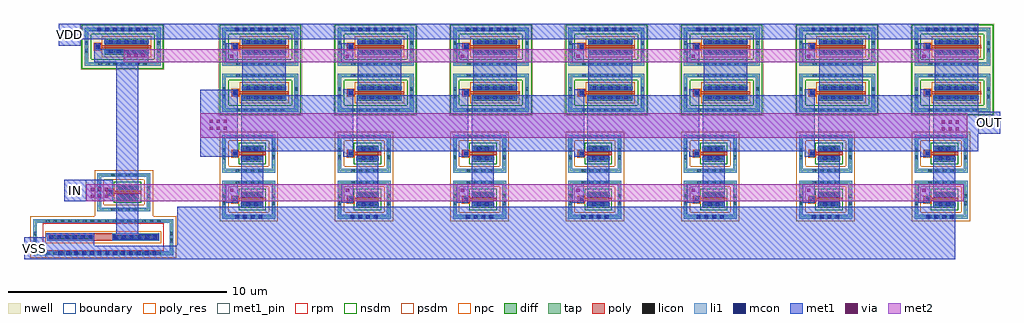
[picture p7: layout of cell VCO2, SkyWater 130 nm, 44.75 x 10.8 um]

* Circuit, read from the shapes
.subckt VCO2 IN OUT VDD VSS
XM1 n1 IN n2 VSS sky130_fd_pr__nfet_01v8 w=1 l=0.15
XM2 n3 IN VSS VSS sky130_fd_pr__nfet_01v8 w=1 l=0.15
XM3 n4 OUT n3 VSS sky130_fd_pr__nfet_01v8 w=1 l=0.15
XM4 n5 IN VSS VSS sky130_fd_pr__nfet_01v8 w=1 l=0.15
XM5 n6 n4 n5 VSS sky130_fd_pr__nfet_01v8 w=1 l=0.15
XM6 n7 IN VSS VSS sky130_fd_pr__nfet_01v8 w=1 l=0.15
XM7 n8 n6 n7 VSS sky130_fd_pr__nfet_01v8 w=1 l=0.15
XM8 n9 IN VSS VSS sky130_fd_pr__nfet_01v8 w=1 l=0.15
XM9 n10 n8 n9 VSS sky130_fd_pr__nfet_01v8 w=1 l=0.15
XM10 n11 IN VSS VSS sky130_fd_pr__nfet_01v8 w=1 l=0.15
XM11 n12 n10 n11 VSS sky130_fd_pr__nfet_01v8 w=1 l=0.15
XM12 n13 IN VSS VSS sky130_fd_pr__nfet_01v8 w=1 l=0.15
XM13 n14 n12 n13 VSS sky130_fd_pr__nfet_01v8 w=1 l=0.15
XM14 n15 IN VSS VSS sky130_fd_pr__nfet_01v8 w=1 l=0.15
XM15 OUT n14 n15 VSS sky130_fd_pr__nfet_01v8 w=1 l=0.15
XM16 VDD n1 n1 VDD sky130_fd_pr__pfet_01v8 w=2 l=0.15
XM17 n16 OUT n4 VDD sky130_fd_pr__pfet_01v8 w=2 l=0.15
XM18 VDD n1 n16 VDD sky130_fd_pr__pfet_01v8 w=2 l=0.15
XM19 n17 n4 n6 VDD sky130_fd_pr__pfet_01v8 w=2 l=0.15
XM20 VDD n1 n17 VDD sky130_fd_pr__pfet_01v8 w=2 l=0.15
XM21 n18 n6 n8 VDD sky130_fd_pr__pfet_01v8 w=2 l=0.15
XM22 VDD n1 n18 VDD sky130_fd_pr__pfet_01v8 w=2 l=0.15
XM23 n19 n8 n10 VDD sky130_fd_pr__pfet_01v8 w=2 l=0.15
XM24 VDD n1 n19 VDD sky130_fd_pr__pfet_01v8 w=2 l=0.15
XM25 n20 n10 n12 VDD sky130_fd_pr__pfet_01v8 w=2 l=0.15
XM26 VDD n1 n20 VDD sky130_fd_pr__pfet_01v8 w=2 l=0.15
XM27 n21 n12 n14 VDD sky130_fd_pr__pfet_01v8 w=2 l=0.15
XM28 VDD n1 n21 VDD sky130_fd_pr__pfet_01v8 w=2 l=0.15
XM29 n22 n14 OUT VDD sky130_fd_pr__pfet_01v8 w=2 l=0.15
XM30 VDD n1 n22 VDD sky130_fd_pr__pfet_01v8 w=2 l=0.15
XR31 n2 VSS VSS sky130_fd_pr__res_high_po w=0.35 l=0.85
.ends

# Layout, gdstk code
from math import pi, radians
import gdstk
lib = gdstk.Library(unit=1e-6, precision=1e-09)
def R(c, l, rs):  # rectangles x0, y0, x1, y1
    for r in rs: c.add(gdstk.rectangle(r[:2], r[2:], *l))
def A(c, l, x, y, w, h, nx, ny, dx, dy):  # array of equal rectangles
    R(c, l, [(x+i*dx, y+j*dy, x+i*dx+w, y+j*dy+h) for i in range(nx) for j in range(ny)])
nwell = (64, 20)
diff = (65, 20)
tap = (65, 44)
poly_res = (66, 13)
poly = (66, 20)
licon = (66, 44)
li1 = (67, 20)
mcon = (67, 44)
met1_pin = (68, 16)
met1 = (68, 20)
via = (68, 44)
met2 = (69, 20)
rpm = (86, 20)
nsdm = (93, 44)
psdm = (94, 20)
npc = (95, 20)
boundary = (235, 4)

sky130_fd_pr__pfet_01v8_ = lib.new_cell('sky130_fd_pr__pfet_01v8_KLV5CL')
R(sky130_fd_pr__pfet_01v8_, nwell, [(-1.055,-1.92,1.055,1.92)])
R(sky130_fd_pr__pfet_01v8_, diff, [(-0.365,-1.18,0.365,0.82)])
R(sky130_fd_pr__pfet_01v8_, tap, [(-0.875,-1.74,0.875,-1.57), (-0.875,-1.57,-0.705,1.57), (0.705,-1.57,0.875,1.57), (-0.875,1.57,0.875,1.74)])
R(sky130_fd_pr__pfet_01v8_, poly, [(-0.075,-1.31,0.075,0.975), (-0.165,0.975,0.165,1.305)])
A(sky130_fd_pr__pfet_01v8_, licon, -0.305, -1.115, 0.17, 0.17, 1, 6, 0, 0.34)
A(sky130_fd_pr__pfet_01v8_, licon, 0.135, -1.115, 0.17, 0.17, 1, 6, 0, 0.34)
A(sky130_fd_pr__pfet_01v8_, licon, -0.875, -1.105, 0.17, 0.17, 1, 7, 0, 0.34)
A(sky130_fd_pr__pfet_01v8_, licon, 0.705, -1.105, 0.17, 0.17, 1, 7, 0, 0.34)
R(sky130_fd_pr__pfet_01v8_, licon, [(-0.255,-1.74,-0.085,-1.57), (0.085,-1.74,0.255,-1.57), (-0.085,1.055,0.085,1.225), (-0.255,1.57,-0.085,1.74), (0.085,1.57,0.255,1.74)])
R(sky130_fd_pr__pfet_01v8_, li1, [(-0.875,-1.74,0.875,-1.57), (-0.875,-1.57,-0.705,1.57), (0.705,-1.57,0.875,1.57), (-0.305,-1.2,-0.135,0.84), (0.135,-1.2,0.305,0.84), (-0.165,1.055,0.165,1.225), (-0.875,1.57,0.875,1.74)])
A(sky130_fd_pr__pfet_01v8_, mcon, -0.305, -0.985, 0.17, 0.17, 1, 5, 0, 0.36)
A(sky130_fd_pr__pfet_01v8_, mcon, 0.135, -0.985, 0.17, 0.17, 1, 5, 0, 0.36)
R(sky130_fd_pr__pfet_01v8_, mcon, [(-0.085,1.055,0.085,1.225)])
R(sky130_fd_pr__pfet_01v8_, met1, [(-0.335,-1.18,-0.105,0.82), (0.105,-1.18,0.335,0.82), (-0.145,1.025,0.145,1.255)])
R(sky130_fd_pr__pfet_01v8_, nsdm, [(-1,-1.865,1,-1.445), (-1,-1.445,-0.58,1.445), (0.58,-1.445,1,1.445), (-1,1.445,1,1.865)])
R(sky130_fd_pr__pfet_01v8_, psdm, [(-0.49,-1.305,0.49,0.945)])
R(sky130_fd_pr__pfet_01v8_, npc, [(-0.185,0.955,0.185,1.325)])
R(sky130_fd_pr__pfet_01v8_, boundary, [(-0.79,-1.655,0.79,1.655)])

sky130_fd_pr__nfet_01v8_ = lib.new_cell('sky130_fd_pr__nfet_01v8_D5KUY4')
R(sky130_fd_pr__nfet_01v8_, diff, [(-0.365,-0.655,0.365,0.345)])
R(sky130_fd_pr__nfet_01v8_, tap, [(-0.875,-1.215,0.875,-1.045), (-0.875,-1.045,-0.705,1.045), (0.705,-1.045,0.875,1.045), (-0.875,1.045,0.875,1.215)])
R(sky130_fd_pr__nfet_01v8_, poly, [(-0.075,-0.785,0.075,0.455), (-0.165,0.455,0.165,0.785)])
A(sky130_fd_pr__nfet_01v8_, licon, -0.875, -0.595, 0.17, 0.17, 1, 4, 0, 0.34)
A(sky130_fd_pr__nfet_01v8_, licon, 0.705, -0.595, 0.17, 0.17, 1, 4, 0, 0.34)
A(sky130_fd_pr__nfet_01v8_, licon, -0.305, -0.58, 0.17, 0.17, 1, 3, 0, 0.34)
A(sky130_fd_pr__nfet_01v8_, licon, 0.135, -0.58, 0.17, 0.17, 1, 3, 0, 0.34)
R(sky130_fd_pr__nfet_01v8_, licon, [(-0.255,-1.215,-0.085,-1.045), (0.085,-1.215,0.255,-1.045), (-0.085,0.535,0.085,0.705), (-0.255,1.045,-0.085,1.215), (0.085,1.045,0.255,1.215)])
R(sky130_fd_pr__nfet_01v8_, li1, [(-0.875,-1.215,0.875,-1.045), (-0.875,-1.045,-0.705,1.045), (0.705,-1.045,0.875,1.045), (-0.305,-0.675,-0.135,0.365), (0.135,-0.675,0.305,0.365), (-0.165,0.535,0.165,0.705), (-0.875,1.045,0.875,1.215)])
R(sky130_fd_pr__nfet_01v8_, mcon, [(-0.305,-0.42,-0.135,-0.25), (0.135,-0.42,0.305,-0.25), (-0.305,-0.06,-0.135,0.11), (0.135,-0.06,0.305,0.11), (-0.085,0.535,0.085,0.705)])
R(sky130_fd_pr__nfet_01v8_, met1, [(-0.335,-0.655,-0.105,0.345), (0.105,-0.655,0.335,0.345), (-0.145,0.505,0.145,0.735)])
R(sky130_fd_pr__nfet_01v8_, nsdm, [(-0.49,-0.78,0.49,0.47)])
R(sky130_fd_pr__nfet_01v8_, psdm, [(-1,-1.34,1,-0.92), (-1,-0.92,-0.58,0.92), (0.58,-0.92,1,0.92), (-1,0.92,1,1.34)])
R(sky130_fd_pr__nfet_01v8_, npc, [(-0.185,0.435,0.185,0.805)])
R(sky130_fd_pr__nfet_01v8_, boundary, [(-0.79,-1.13,0.79,1.13)])

sky130_fd_pr__res_high_p = lib.new_cell('sky130_fd_pr__res_high_po_0p35_MS8ZBS')
R(sky130_fd_pr__res_high_p, tap, [(-0.825,-3.215,0.825,-3.045), (-0.825,-3.045,-0.655,3.045), (0.655,-3.045,0.825,3.045), (-0.825,3.045,0.825,3.215)])
R(sky130_fd_pr__res_high_p, poly_res, [(-0.175,-0.485,0.175,0.485)])
R(sky130_fd_pr__res_high_p, poly, [(-0.175,-2.565,0.175,2.565)])
A(sky130_fd_pr__res_high_p, licon, -0.825, -2.635, 0.17, 0.17, 1, 16, 0, 0.34)
A(sky130_fd_pr__res_high_p, licon, 0.655, -2.635, 0.17, 0.17, 1, 16, 0, 0.34)
R(sky130_fd_pr__res_high_p, licon, [(-0.255,-3.215,-0.085,-3.045), (0.085,-3.215,0.255,-3.045), (-0.095,-2.485,0.095,-0.485), (-0.095,0.485,0.095,2.485), (-0.255,3.045,-0.085,3.215), (0.085,3.045,0.255,3.215)])
R(sky130_fd_pr__res_high_p, li1, [(-0.825,-3.215,0.825,-3.045), (-0.825,-3.045,-0.655,3.045), (0.655,-3.045,0.825,3.045), (-0.175,-2.565,0.175,-0.405), (-0.175,0.405,0.175,2.565), (-0.825,3.045,0.825,3.215)])
A(sky130_fd_pr__res_high_p, mcon, -0.085, -2.47, 0.17, 0.17, 1, 6, 0, 0.36)
A(sky130_fd_pr__res_high_p, mcon, -0.085, 0.495, 0.17, 0.17, 1, 6, 0, 0.36)
R(sky130_fd_pr__res_high_p, met1, [(-0.125,-2.535,0.125,-0.43), (-0.125,0.43,0.125,2.535)])
R(sky130_fd_pr__res_high_p, rpm, [(-0.635,-2.765,0.635,2.765)])
R(sky130_fd_pr__res_high_p, psdm, [(-0.95,-3.34,0.95,3.34)])
R(sky130_fd_pr__res_high_p, npc, [(-0.27,-2.66,0.27,2.66)])
R(sky130_fd_pr__res_high_p, boundary, [(-0.74,-3.13,0.74,3.13)])

vco2 = lib.new_cell('VCO2')
A(vco2, nwell, 11.67, -10.34, 3.84, 4.22, 6, 1, 5.29, 0)
A(vco2, diff, 12.72, -14.55, 1, 0.73, 6, 2, 5.29, 2.11)
A(vco2, diff, 12.77, -9.65, 2, 0.73, 6, 2, 5.29, 2.11)
A(vco2, tap, 11.85, -15.06, 2.43, 0.17, 6, 2, 5.29, 1.58)
A(vco2, tap, 11.85, -12.95, 2.43, 0.17, 6, 2, 5.29, 1.58)
A(vco2, tap, 11.85, -10.16, 3.48, 0.17, 6, 2, 5.29, 1.58)
A(vco2, tap, 11.85, -8.05, 3.48, 0.17, 6, 2, 5.29, 1.58)
R(vco2, tap, [(11.85,-14.89,12.02,-13.48), (14.11,-14.89,14.28,-13.48), (17.14,-14.89,17.31,-13.48), (19.4,-14.89,19.57,-13.48), (22.43,-14.89,22.6,-13.48), (24.69,-14.89,24.86,-13.48), (27.72,-14.89,27.89,-13.48), (29.98,-14.89,30.15,-13.48), (33.01,-14.89,33.18,-13.48), (35.27,-14.89,35.44,-13.48), (38.3,-14.89,38.47,-13.48), (40.56,-14.89,40.73,-13.48), (11.85,-12.78,12.02,-11.37), (14.11,-12.78,14.28,-11.37), (17.14,-12.78,17.31,-11.37), (19.4,-12.78,19.57,-11.37), (22.43,-12.78,22.6,-11.37), (24.69,-12.78,24.86,-11.37), (27.72,-12.78,27.89,-11.37), (29.98,-12.78,30.15,-11.37), (33.01,-12.78,33.18,-11.37), (35.27,-12.78,35.44,-11.37), (38.3,-12.78,38.47,-11.37), (40.56,-12.78,40.73,-11.37), (11.85,-9.99,12.02,-8.58), (15.16,-9.99,15.33,-8.58), (17.14,-9.99,17.31,-8.58), (20.45,-9.99,20.62,-8.58), (22.43,-9.99,22.6,-8.58), (25.74,-9.99,25.91,-8.58), (27.72,-9.99,27.89,-8.58), (31.03,-9.99,31.2,-8.58), (33.01,-9.99,33.18,-8.58), (36.32,-9.99,36.49,-8.58), (38.3,-9.99,38.47,-8.58), (41.61,-9.99,41.78,-8.58), (11.85,-7.88,12.02,-6.47), (15.16,-7.88,15.33,-6.47), (17.14,-7.88,17.31,-6.47), (20.45,-7.88,20.62,-6.47), (22.43,-7.88,22.6,-6.47), (25.74,-7.88,25.91,-6.47), (27.72,-7.88,27.89,-6.47), (31.03,-7.88,31.2,-6.47), (33.01,-7.88,33.18,-6.47), (36.32,-7.88,36.49,-6.47), (38.3,-7.88,38.47,-6.47), (41.61,-7.88,41.78,-6.47)])
A(vco2, poly, 12.28, -14.35, 0.33, 0.09, 6, 2, 5.29, 0.24)
A(vco2, poly, 12.28, -14.26, 1.57, 0.15, 6, 2, 5.29, 2.11)
A(vco2, poly, 12.28, -12.24, 0.33, 0.09, 6, 2, 5.29, 0.24)
A(vco2, poly, 12.285, -9.45, 0.33, 0.09, 6, 2, 5.29, 0.24)
A(vco2, poly, 12.285, -9.36, 2.615, 0.15, 6, 2, 5.29, 2.11)
A(vco2, poly, 12.285, -7.34, 0.33, 0.09, 6, 2, 5.29, 0.24)
A(vco2, licon, 12.47, -15.06, 0.17, 0.17, 4, 2, 0.34, 1.58)
A(vco2, licon, 17.76, -15.06, 0.17, 0.17, 4, 2, 0.34, 1.58)
A(vco2, licon, 23.05, -15.06, 0.17, 0.17, 4, 2, 0.34, 1.58)
A(vco2, licon, 28.34, -15.06, 0.17, 0.17, 4, 2, 0.34, 1.58)
A(vco2, licon, 33.63, -15.06, 0.17, 0.17, 4, 2, 0.34, 1.58)
A(vco2, licon, 38.92, -15.06, 0.17, 0.17, 4, 2, 0.34, 1.58)
A(vco2, licon, 12.795, -14.49, 0.17, 0.17, 3, 2, 0.34, 0.44)
A(vco2, licon, 18.085, -14.49, 0.17, 0.17, 3, 2, 0.34, 0.44)
A(vco2, licon, 23.375, -14.49, 0.17, 0.17, 3, 2, 0.34, 0.44)
A(vco2, licon, 28.665, -14.49, 0.17, 0.17, 3, 2, 0.34, 0.44)
A(vco2, licon, 33.955, -14.49, 0.17, 0.17, 3, 2, 0.34, 0.44)
A(vco2, licon, 39.245, -14.49, 0.17, 0.17, 3, 2, 0.34, 0.44)
A(vco2, licon, 12.36, -14.27, 0.17, 0.17, 6, 2, 5.29, 2.11)
A(vco2, licon, 12.47, -12.95, 0.17, 0.17, 4, 2, 0.34, 1.58)
A(vco2, licon, 17.76, -12.95, 0.17, 0.17, 4, 2, 0.34, 1.58)
A(vco2, licon, 23.05, -12.95, 0.17, 0.17, 4, 2, 0.34, 1.58)
A(vco2, licon, 28.34, -12.95, 0.17, 0.17, 4, 2, 0.34, 1.58)
A(vco2, licon, 33.63, -12.95, 0.17, 0.17, 4, 2, 0.34, 1.58)
A(vco2, licon, 38.92, -12.95, 0.17, 0.17, 4, 2, 0.34, 1.58)
A(vco2, licon, 12.795, -12.38, 0.17, 0.17, 3, 2, 0.34, 0.44)
A(vco2, licon, 18.085, -12.38, 0.17, 0.17, 3, 2, 0.34, 0.44)
A(vco2, licon, 23.375, -12.38, 0.17, 0.17, 3, 2, 0.34, 0.44)
A(vco2, licon, 28.665, -12.38, 0.17, 0.17, 3, 2, 0.34, 0.44)
A(vco2, licon, 33.955, -12.38, 0.17, 0.17, 3, 2, 0.34, 0.44)
A(vco2, licon, 39.245, -12.38, 0.17, 0.17, 3, 2, 0.34, 0.44)
A(vco2, licon, 12.485, -10.16, 0.17, 0.17, 7, 2, 0.34, 1.58)
A(vco2, licon, 17.775, -10.16, 0.17, 0.17, 7, 2, 0.34, 1.58)
A(vco2, licon, 23.065, -10.16, 0.17, 0.17, 7, 2, 0.34, 1.58)
A(vco2, licon, 28.355, -10.16, 0.17, 0.17, 7, 2, 0.34, 1.58)
A(vco2, licon, 33.645, -10.16, 0.17, 0.17, 7, 2, 0.34, 1.58)
A(vco2, licon, 38.935, -10.16, 0.17, 0.17, 7, 2, 0.34, 1.58)
A(vco2, licon, 12.835, -9.59, 0.17, 0.17, 6, 2, 0.34, 0.44)
A(vco2, licon, 18.125, -9.59, 0.17, 0.17, 6, 2, 0.34, 0.44)
A(vco2, licon, 23.415, -9.59, 0.17, 0.17, 6, 2, 0.34, 0.44)
A(vco2, licon, 28.705, -9.59, 0.17, 0.17, 6, 2, 0.34, 0.44)
A(vco2, licon, 33.995, -9.59, 0.17, 0.17, 6, 2, 0.34, 0.44)
A(vco2, licon, 39.285, -9.59, 0.17, 0.17, 6, 2, 0.34, 0.44)
A(vco2, licon, 12.365, -9.37, 0.17, 0.17, 6, 2, 5.29, 2.11)
A(vco2, licon, 12.485, -8.05, 0.17, 0.17, 7, 2, 0.34, 1.58)
A(vco2, licon, 17.775, -8.05, 0.17, 0.17, 7, 2, 0.34, 1.58)
A(vco2, licon, 23.065, -8.05, 0.17, 0.17, 7, 2, 0.34, 1.58)
A(vco2, licon, 28.355, -8.05, 0.17, 0.17, 7, 2, 0.34, 1.58)
A(vco2, licon, 33.645, -8.05, 0.17, 0.17, 7, 2, 0.34, 1.58)
A(vco2, licon, 38.935, -8.05, 0.17, 0.17, 7, 2, 0.34, 1.58)
A(vco2, licon, 12.835, -7.48, 0.17, 0.17, 6, 2, 0.34, 0.44)
A(vco2, licon, 18.125, -7.48, 0.17, 0.17, 6, 2, 0.34, 0.44)
A(vco2, licon, 23.415, -7.48, 0.17, 0.17, 6, 2, 0.34, 0.44)
A(vco2, licon, 28.705, -7.48, 0.17, 0.17, 6, 2, 0.34, 0.44)
A(vco2, licon, 33.995, -7.48, 0.17, 0.17, 6, 2, 0.34, 0.44)
A(vco2, licon, 39.285, -7.48, 0.17, 0.17, 6, 2, 0.34, 0.44)
R(vco2, licon, [(11.85,-14.44,12.02,-14.27), (14.11,-14.44,14.28,-14.27), (17.14,-14.44,17.31,-14.27), (19.4,-14.44,19.57,-14.27), (22.43,-14.44,22.6,-14.27), (24.69,-14.44,24.86,-14.27), (27.72,-14.44,27.89,-14.27), (29.98,-14.44,30.15,-14.27), (33.01,-14.44,33.18,-14.27), (35.27,-14.44,35.44,-14.27), (38.3,-14.44,38.47,-14.27), (40.56,-14.44,40.73,-14.27), (11.85,-14.1,12.02,-13.93), (14.11,-14.1,14.28,-13.93), (17.14,-14.1,17.31,-13.93), (19.4,-14.1,19.57,-13.93), (22.43,-14.1,22.6,-13.93), (24.69,-14.1,24.86,-13.93), (27.72,-14.1,27.89,-13.93), (29.98,-14.1,30.15,-13.93), (33.01,-14.1,33.18,-13.93), (35.27,-14.1,35.44,-13.93), (38.3,-14.1,38.47,-13.93), (40.56,-14.1,40.73,-13.93), (11.85,-12.33,12.02,-12.16), (14.11,-12.33,14.28,-12.16), (17.14,-12.33,17.31,-12.16), (19.4,-12.33,19.57,-12.16), (22.43,-12.33,22.6,-12.16), (24.69,-12.33,24.86,-12.16), (27.72,-12.33,27.89,-12.16), (29.98,-12.33,30.15,-12.16), (33.01,-12.33,33.18,-12.16), (35.27,-12.33,35.44,-12.16), (38.3,-12.33,38.47,-12.16), (40.56,-12.33,40.73,-12.16), (11.85,-11.99,12.02,-11.82), (14.11,-11.99,14.28,-11.82), (17.14,-11.99,17.31,-11.82), (19.4,-11.99,19.57,-11.82), (22.43,-11.99,22.6,-11.82), (24.69,-11.99,24.86,-11.82), (27.72,-11.99,27.89,-11.82), (29.98,-11.99,30.15,-11.82), (33.01,-11.99,33.18,-11.82), (35.27,-11.99,35.44,-11.82), (38.3,-11.99,38.47,-11.82), (40.56,-11.99,40.73,-11.82), (11.85,-9.54,12.02,-9.37), (15.16,-9.54,15.33,-9.37), (17.14,-9.54,17.31,-9.37), (20.45,-9.54,20.62,-9.37), (22.43,-9.54,22.6,-9.37), (25.74,-9.54,25.91,-9.37), (27.72,-9.54,27.89,-9.37), (31.03,-9.54,31.2,-9.37), (33.01,-9.54,33.18,-9.37), (36.32,-9.54,36.49,-9.37), (38.3,-9.54,38.47,-9.37), (41.61,-9.54,41.78,-9.37), (11.85,-9.2,12.02,-9.03), (15.16,-9.2,15.33,-9.03), (17.14,-9.2,17.31,-9.03), (20.45,-9.2,20.62,-9.03), (22.43,-9.2,22.6,-9.03), (25.74,-9.2,25.91,-9.03), (27.72,-9.2,27.89,-9.03), (31.03,-9.2,31.2,-9.03), (33.01,-9.2,33.18,-9.03), (36.32,-9.2,36.49,-9.03), (38.3,-9.2,38.47,-9.03), (41.61,-9.2,41.78,-9.03), (11.85,-7.43,12.02,-7.26), (15.16,-7.43,15.33,-7.26), (17.14,-7.43,17.31,-7.26), (20.45,-7.43,20.62,-7.26), (22.43,-7.43,22.6,-7.26), (25.74,-7.43,25.91,-7.26), (27.72,-7.43,27.89,-7.26), (31.03,-7.43,31.2,-7.26), (33.01,-7.43,33.18,-7.26), (36.32,-7.43,36.49,-7.26), (38.3,-7.43,38.47,-7.26), (41.61,-7.43,41.78,-7.26), (11.85,-7.09,12.02,-6.92), (15.16,-7.09,15.33,-6.92), (17.14,-7.09,17.31,-6.92), (20.45,-7.09,20.62,-6.92), (22.43,-7.09,22.6,-6.92), (25.74,-7.09,25.91,-6.92), (27.72,-7.09,27.89,-6.92), (31.03,-7.09,31.2,-6.92), (33.01,-7.09,33.18,-6.92), (36.32,-7.09,36.49,-6.92), (38.3,-7.09,38.47,-6.92), (41.61,-7.09,41.78,-6.92)])
A(vco2, li1, 11.85, -15.06, 2.43, 0.17, 6, 2, 5.29, 1.58)
A(vco2, li1, 12.7, -14.49, 1.04, 0.17, 6, 2, 5.29, 0.44)
A(vco2, li1, 12.36, -14.35, 0.17, 0.33, 6, 2, 5.29, 2.11)
A(vco2, li1, 11.85, -12.95, 2.43, 0.17, 6, 2, 5.29, 1.58)
A(vco2, li1, 12.7, -12.38, 1.04, 0.17, 6, 2, 5.29, 0.44)
A(vco2, li1, 11.85, -10.16, 3.48, 0.17, 6, 2, 5.29, 1.58)
A(vco2, li1, 12.75, -9.59, 2.04, 0.17, 6, 2, 5.29, 0.44)
A(vco2, li1, 12.365, -9.45, 0.17, 0.33, 6, 2, 5.29, 2.11)
A(vco2, li1, 11.85, -8.05, 3.48, 0.17, 6, 2, 5.29, 1.58)
A(vco2, li1, 12.75, -7.48, 2.04, 0.17, 6, 2, 5.29, 0.44)
R(vco2, li1, [(-1.1,-16.73,3.69,-16.56), (7.07,-15.06,8.48,-14.89), (11.85,-14.89,12.02,-13.48), (14.11,-14.89,14.28,-13.48), (17.14,-14.89,17.31,-13.48), (19.4,-14.89,19.57,-13.48), (22.43,-14.89,22.6,-13.48), (24.69,-14.89,24.86,-13.48), (27.72,-14.89,27.89,-13.48), (29.98,-14.89,30.15,-13.48), (33.01,-14.89,33.18,-13.48), (35.27,-14.89,35.44,-13.48), (38.3,-14.89,38.47,-13.48), (40.56,-14.89,40.73,-13.48), (11.85,-12.78,12.02,-11.37), (14.11,-12.78,14.28,-11.37), (17.14,-12.78,17.31,-11.37), (19.4,-12.78,19.57,-11.37), (22.43,-12.78,22.6,-11.37), (24.69,-12.78,24.86,-11.37), (27.72,-12.78,27.89,-11.37), (29.98,-12.78,30.15,-11.37), (33.01,-12.78,33.18,-11.37), (35.27,-12.78,35.44,-11.37), (38.3,-12.78,38.47,-11.37), (40.56,-12.78,40.73,-11.37), (11.85,-9.99,12.02,-8.58), (15.16,-9.99,15.33,-8.58), (17.14,-9.99,17.31,-8.58), (20.45,-9.99,20.62,-8.58), (22.43,-9.99,22.6,-8.58), (25.74,-9.99,25.91,-8.58), (27.72,-9.99,27.89,-8.58), (31.03,-9.99,31.2,-8.58), (33.01,-9.99,33.18,-8.58), (36.32,-9.99,36.49,-8.58), (38.3,-9.99,38.47,-8.58), (41.61,-9.99,41.78,-8.58), (11.85,-7.88,12.02,-6.47), (15.16,-7.88,15.33,-6.47), (17.14,-7.88,17.31,-6.47), (20.45,-7.88,20.62,-6.47), (22.43,-7.88,22.6,-6.47), (25.74,-7.88,25.91,-6.47), (27.72,-7.88,27.89,-6.47), (31.03,-7.88,31.2,-6.47), (33.01,-7.88,33.18,-6.47), (36.32,-7.88,36.49,-6.47), (38.3,-7.88,38.47,-6.47), (41.61,-7.88,41.78,-6.47), (0.77,-6.47,3.21,-6.3), (7.08,-6.47,9.52,-6.3)])
A(vco2, mcon, -0.95, -16.73, 0.17, 0.17, 13, 1, 0.36, 0)
A(vco2, mcon, 7.15, -15.06, 0.17, 0.17, 4, 1, 0.36, 0)
A(vco2, mcon, 12.44, -15.06, 0.17, 0.17, 4, 1, 0.36, 0)
A(vco2, mcon, 17.73, -15.06, 0.17, 0.17, 4, 1, 0.36, 0)
A(vco2, mcon, 23.02, -15.06, 0.17, 0.17, 4, 1, 0.36, 0)
A(vco2, mcon, 28.31, -15.06, 0.17, 0.17, 4, 1, 0.36, 0)
A(vco2, mcon, 33.6, -15.06, 0.17, 0.17, 4, 1, 0.36, 0)
A(vco2, mcon, 38.845, -15.06, 0.17, 0.17, 4, 1, 0.36, 0)
A(vco2, mcon, 12.36, -14.27, 0.17, 0.17, 6, 2, 5.29, 2.11)
A(vco2, mcon, 12.965, -9.59, 0.17, 0.17, 5, 2, 0.36, 0.44)
A(vco2, mcon, 18.255, -9.59, 0.17, 0.17, 5, 2, 0.36, 0.44)
A(vco2, mcon, 23.545, -9.59, 0.17, 0.17, 5, 2, 0.36, 0.44)
A(vco2, mcon, 28.835, -9.59, 0.17, 0.17, 5, 2, 0.36, 0.44)
A(vco2, mcon, 34.125, -9.59, 0.17, 0.17, 5, 2, 0.36, 0.44)
A(vco2, mcon, 39.415, -9.59, 0.17, 0.17, 5, 2, 0.36, 0.44)
A(vco2, mcon, 12.365, -9.37, 0.17, 0.17, 6, 2, 5.29, 2.11)
A(vco2, mcon, 12.965, -7.48, 0.17, 0.17, 5, 2, 0.36, 0.44)
A(vco2, mcon, 18.255, -7.48, 0.17, 0.17, 5, 2, 0.36, 0.44)
A(vco2, mcon, 23.545, -7.48, 0.17, 0.17, 5, 2, 0.36, 0.44)
A(vco2, mcon, 28.835, -7.48, 0.17, 0.17, 5, 2, 0.36, 0.44)
A(vco2, mcon, 34.125, -7.48, 0.17, 0.17, 5, 2, 0.36, 0.44)
A(vco2, mcon, 39.415, -7.48, 0.17, 0.17, 5, 2, 0.36, 0.44)
A(vco2, mcon, 0.825, -6.47, 0.17, 0.17, 7, 1, 0.36, 0)
A(vco2, mcon, 7.135, -6.47, 0.17, 0.17, 7, 1, 0.36, 0)
A(vco2, mcon, 12.425, -6.47, 0.17, 0.17, 7, 1, 0.36, 0)
A(vco2, mcon, 17.715, -6.47, 0.17, 0.17, 7, 1, 0.36, 0)
A(vco2, mcon, 23.005, -6.47, 0.17, 0.17, 7, 1, 0.36, 0)
A(vco2, mcon, 28.295, -6.47, 0.17, 0.17, 7, 1, 0.36, 0)
A(vco2, mcon, 33.585, -6.47, 0.17, 0.17, 7, 1, 0.36, 0)
A(vco2, mcon, 38.825, -6.47, 0.17, 0.17, 7, 1, 0.36, 0)
R(vco2, mcon, [(12.955,-14.49,13.125,-14.32), (13.315,-14.49,13.485,-14.32), (18.245,-14.49,18.415,-14.32), (18.605,-14.49,18.775,-14.32), (23.535,-14.49,23.705,-14.32), (23.895,-14.49,24.065,-14.32), (28.825,-14.49,28.995,-14.32), (29.185,-14.49,29.355,-14.32), (34.115,-14.49,34.285,-14.32), (34.475,-14.49,34.645,-14.32), (39.405,-14.49,39.575,-14.32), (39.765,-14.49,39.935,-14.32), (12.955,-14.05,13.125,-13.88), (13.315,-14.05,13.485,-13.88), (18.245,-14.05,18.415,-13.88), (18.605,-14.05,18.775,-13.88), (23.535,-14.05,23.705,-13.88), (23.895,-14.05,24.065,-13.88), (28.825,-14.05,28.995,-13.88), (29.185,-14.05,29.355,-13.88), (34.115,-14.05,34.285,-13.88), (34.475,-14.05,34.645,-13.88), (39.405,-14.05,39.575,-13.88), (39.765,-14.05,39.935,-13.88), (12.955,-12.38,13.125,-12.21), (13.315,-12.38,13.485,-12.21), (18.245,-12.38,18.415,-12.21), (18.605,-12.38,18.775,-12.21), (23.535,-12.38,23.705,-12.21), (23.895,-12.38,24.065,-12.21), (28.825,-12.38,28.995,-12.21), (29.185,-12.38,29.355,-12.21), (34.115,-12.38,34.285,-12.21), (34.475,-12.38,34.645,-12.21), (39.405,-12.38,39.575,-12.21), (39.765,-12.38,39.935,-12.21), (12.955,-11.94,13.125,-11.77), (13.315,-11.94,13.485,-11.77), (18.245,-11.94,18.415,-11.77), (18.605,-11.94,18.775,-11.77), (23.535,-11.94,23.705,-11.77), (23.895,-11.94,24.065,-11.77), (28.825,-11.94,28.995,-11.77), (29.185,-11.94,29.355,-11.77), (34.115,-11.94,34.285,-11.77), (34.475,-11.94,34.645,-11.77), (39.405,-11.94,39.575,-11.77), (39.765,-11.94,39.935,-11.77)])
R(vco2, met1_pin, [(-2.53,-16.92,-1.53,-15.92), (-0.68,-14.27,0.32,-13.27), (41.22,-11.16,42.22,-10.16), (-0.93,-7.12,0.07,-6.12)])
A(vco2, met1, 12.72, -14.52, 1, 0.23, 6, 1, 5.29, 0)
A(vco2, met1, 17.31, -14.33, 0.54, 0.85, 5, 1, 5.29, 0)
A(vco2, met1, 7.43, -14.08, 1, 1.9, 7, 1, 5.29, 0)
A(vco2, met1, 27.98, -12.22, 0.45, 0.25, 3, 1, 5.29, 0)
A(vco2, met1, 23.3, -11.97, 5.13, 2.54, 3, 1, 5.29, 0)
A(vco2, met1, 23.3, -9.43, 5.135, 0.04, 3, 1, 5.29, 0)
A(vco2, met1, 27.98, -9.39, 0.455, 0.25, 3, 1, 5.29, 0)
A(vco2, met1, 7.48, -9.18, 2, 1.9, 7, 1, 5.29, 0)
A(vco2, met1, 27.98, -9.14, 0.45, 0.02, 3, 1, 5.29, 0)
A(vco2, met1, 12.02, -7.88, 0.54, 0.56, 6, 1, 5.29, 0)
A(vco2, met1, 12.02, -7.32, 0.545, 0.29, 6, 1, 5.29, 0)
A(vco2, met1, 12.77, -7.07, 2, 0.23, 6, 1, 5.29, 0)
A(vco2, met1, 12.02, -7.03, 0.54, 0.02, 6, 1, 5.29, 0)
R(vco2, met1, [(-2.53,-16.92,-1.53,-16.91), (-2.53,-16.91,40.17,-16.31), (-2.53,-16.31,0.7,-15.92), (4.49,-16.31,40.17,-14.52), (1.71,-15.96,2.71,-13.95), (-1.53,-15.92,0.7,-15.73), (6.73,-14.33,7.27,-13.48), (12.03,-14.33,12.57,-13.48), (-0.68,-14.27,1.55,-13.27), (1.71,-13.74,2.71,-7.88), (5.55,-12.22,7.27,-9.14), (12.11,-12.22,12.56,-11.97), (17.4,-12.22,17.85,-11.97), (22.7,-12.22,23.15,-11.97), (7.43,-11.97,12.56,-9.43), (12.72,-11.97,17.85,-9.43), (18.01,-11.97,23.15,-9.39), (39.17,-11.97,41.22,-11.16), (39.17,-11.16,42.22,-10.16), (39.17,-10.16,41.22,-9.39), (7.43,-9.43,12.565,-9.39), (12.72,-9.43,17.855,-9.39), (12.11,-9.39,12.57,-9.12), (17.4,-9.39,17.86,-9.12), (22.7,-9.39,23.15,-9.12), (0.68,-7.88,3.17,-7.28), (6.73,-7.88,7.27,-7.01), (0.68,-7.28,0.97,-7.01), (-0.93,-7.12,0.07,-6.83), (1.17,-6.84,41.22,-6.83), (-0.93,-6.83,41.22,-6.12)])
A(vco2, via, 0.535, -14.11, 0.15, 0.15, 3, 2, 0.32, 0.32)
A(vco2, via, 17.505, -13.825, 0.15, 0.15, 5, 1, 5.29, 0)
A(vco2, via, 39.54, -11.02, 0.15, 0.15, 3, 2, 0.32, 0.32)
A(vco2, via, 5.98, -10.99, 0.15, 0.15, 3, 2, 0.32, 0.32)
A(vco2, via, 6.925, -7.685, 0.15, 0.15, 7, 1, 5.29, 0)
A(vco2, via, 2.215, -7.655, 0.15, 0.15, 3, 1, 0.32, 0)
R(vco2, via, [(6.925,-13.825,7.075,-13.675), (12.225,-13.825,12.375,-13.675)])
R(vco2, met2, [(0.32,-14.27,40.56,-13.48), (5.55,-11.35,40.72,-10.22), (2.05,-7.88,41.22,-7.28)])
A(vco2, nsdm, 12.595, -14.675, 1.25, 0.98, 6, 2, 5.29, 2.11)
A(vco2, nsdm, 11.725, -10.285, 3.73, 0.42, 6, 2, 5.29, 3.69)
A(vco2, nsdm, 11.725, -8.705, 3.73, 0.95, 6, 1, 5.29, 0)
R(vco2, nsdm, [(11.725,-9.865,12.145,-8.705), (15.035,-9.865,15.455,-8.705), (17.015,-9.865,17.435,-8.705), (20.325,-9.865,20.745,-8.705), (22.305,-9.865,22.725,-8.705), (25.615,-9.865,26.035,-8.705), (27.595,-9.865,28.015,-8.705), (30.905,-9.865,31.325,-8.705), (32.885,-9.865,33.305,-8.705), (36.195,-9.865,36.615,-8.705), (38.175,-9.865,38.595,-8.705), (41.485,-9.865,41.905,-8.705), (6.435,-8.285,10.165,-8.175), (11.725,-7.755,12.145,-6.595), (15.035,-7.755,15.455,-6.595), (17.015,-7.755,17.435,-6.595), (20.325,-7.755,20.745,-6.595), (22.305,-7.755,22.725,-6.595), (25.615,-7.755,26.035,-6.595), (27.595,-7.755,28.015,-6.595), (30.905,-7.755,31.325,-6.595), (32.885,-7.755,33.305,-6.595), (36.195,-7.755,36.615,-6.595), (38.175,-7.755,38.595,-6.595), (41.485,-7.755,41.905,-6.595)])
A(vco2, psdm, 11.725, -15.185, 2.68, 0.42, 6, 2, 5.29, 3.69)
A(vco2, psdm, 11.725, -13.605, 2.68, 0.95, 6, 1, 5.29, 0)
A(vco2, psdm, 12.645, -9.775, 2.25, 0.98, 6, 2, 5.29, 2.11)
R(vco2, psdm, [(0.715,-14.955,3.395,-14.845), (11.725,-14.765,12.145,-13.605), (13.985,-14.765,14.405,-13.605), (17.015,-14.765,17.435,-13.605), (19.275,-14.765,19.695,-13.605), (22.305,-14.765,22.725,-13.605), (24.565,-14.765,24.985,-13.605), (27.595,-14.765,28.015,-13.605), (29.855,-14.765,30.275,-13.605), (32.885,-14.765,33.305,-13.605), (35.145,-14.765,35.565,-13.605), (38.175,-14.765,38.595,-13.605), (40.435,-14.765,40.855,-13.605), (6.435,-13.185,9.115,-13.075), (11.725,-12.655,12.145,-11.495), (13.985,-12.655,14.405,-11.495), (17.015,-12.655,17.435,-11.495), (19.275,-12.655,19.695,-11.495), (22.305,-12.655,22.725,-11.495), (24.565,-12.655,24.985,-11.495), (27.595,-12.655,28.015,-11.495), (29.855,-12.655,30.275,-11.495), (32.885,-12.655,33.305,-11.495), (35.145,-12.655,35.565,-11.495), (38.175,-12.655,38.595,-11.495), (40.435,-12.655,40.855,-11.495)])
A(vco2, npc, 12.26, -14.37, 0.37, 0.37, 6, 2, 5.29, 2.11)
A(vco2, npc, 12.265, -9.47, 0.37, 0.37, 6, 2, 5.29, 2.11)
vco2.add(gdstk.Reference(sky130_fd_pr__pfet_01v8_, (40.04,-7.175), rotation=pi/2))
vco2.add(gdstk.Reference(sky130_fd_pr__pfet_01v8_, (34.75,-7.175), rotation=pi/2))
vco2.add(gdstk.Reference(sky130_fd_pr__nfet_01v8_, (23.645,-12.075), rotation=pi/2))
vco2.add(gdstk.Reference(sky130_fd_pr__nfet_01v8_, (28.935,-12.075), rotation=pi/2))
vco2.add(gdstk.Reference(sky130_fd_pr__nfet_01v8_, (18.355,-12.075), rotation=pi/2))
vco2.add(gdstk.Reference(sky130_fd_pr__nfet_01v8_, (13.065,-12.075), rotation=pi/2))
vco2.add(gdstk.Reference(sky130_fd_pr__nfet_01v8_, (39.515,-14.185), rotation=pi/2))
vco2.add(gdstk.Reference(sky130_fd_pr__nfet_01v8_, (34.225,-14.185), rotation=pi/2))
vco2.add(gdstk.Reference(sky130_fd_pr__nfet_01v8_, (28.935,-14.185), rotation=pi/2))
vco2.add(gdstk.Reference(sky130_fd_pr__pfet_01v8_, (29.46,-9.285), rotation=pi/2))
vco2.add(gdstk.Reference(sky130_fd_pr__nfet_01v8_, (23.645,-14.185), rotation=pi/2))
vco2.add(gdstk.Reference(sky130_fd_pr__nfet_01v8_, (18.355,-14.185), rotation=pi/2))
vco2.add(gdstk.Reference(sky130_fd_pr__nfet_01v8_, (13.065,-14.185), rotation=pi/2))
vco2.add(gdstk.Reference(sky130_fd_pr__nfet_01v8_, (7.775,-14.185), rotation=pi/2))
vco2.add(gdstk.Reference(sky130_fd_pr__nfet_01v8_, (2.055,-13.845), rotation=pi/2))
vco2.add(gdstk.Reference(sky130_fd_pr__res_high_p, (1.105,-15.905), rotation=3*pi/2))
vco2.add(gdstk.Reference(sky130_fd_pr__pfet_01v8_, (8.3,-9.285), rotation=pi/2))
vco2.add(gdstk.Reference(sky130_fd_pr__pfet_01v8_, (40.04,-9.285), rotation=pi/2))
vco2.add(gdstk.Reference(sky130_fd_pr__pfet_01v8_, (13.59,-9.285), rotation=pi/2))
vco2.add(gdstk.Reference(sky130_fd_pr__nfet_01v8_, (39.515,-12.075), rotation=pi/2))
vco2.add(gdstk.Reference(sky130_fd_pr__pfet_01v8_, (18.88,-9.285), rotation=pi/2))
vco2.add(gdstk.Reference(sky130_fd_pr__nfet_01v8_, (34.225,-12.075), rotation=pi/2))
vco2.add(gdstk.Reference(sky130_fd_pr__pfet_01v8_, (24.17,-9.285), rotation=pi/2))
vco2.add(gdstk.Reference(sky130_fd_pr__pfet_01v8_, (34.75,-9.285), rotation=pi/2))
vco2.add(gdstk.Reference(sky130_fd_pr__pfet_01v8_, (1.99,-7.175), rotation=pi/2))
vco2.add(gdstk.Reference(sky130_fd_pr__nfet_01v8_, (7.775,-12.075), rotation=pi/2))
vco2.add(gdstk.Reference(sky130_fd_pr__pfet_01v8_, (8.3,-7.175), rotation=pi/2))
vco2.add(gdstk.Reference(sky130_fd_pr__pfet_01v8_, (29.46,-7.175), rotation=pi/2))
vco2.add(gdstk.Reference(sky130_fd_pr__pfet_01v8_, (13.59,-7.175), rotation=pi/2))
vco2.add(gdstk.Reference(sky130_fd_pr__pfet_01v8_, (18.88,-7.175), rotation=pi/2))
vco2.add(gdstk.Reference(sky130_fd_pr__pfet_01v8_, (24.17,-7.175), rotation=pi/2))
vco2.add(gdstk.Label('VSS', (-2.03,-16.42), layer=68, texttype=5))
vco2.add(gdstk.Label('OUT', (41.72,-10.66), layer=68, texttype=5))
vco2.add(gdstk.Label('IN', (-0.18,-13.77), layer=68, texttype=5))
vco2.add(gdstk.Label('VDD', (-0.43,-6.62), layer=68, texttype=5))

lib.write_gds('VCO2.gds')
